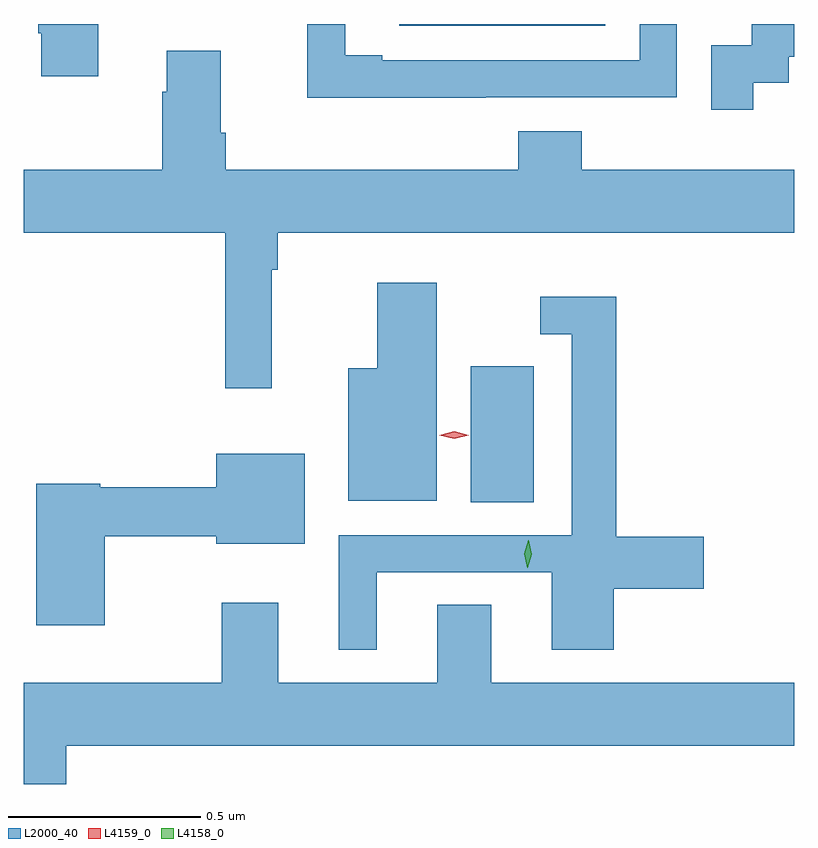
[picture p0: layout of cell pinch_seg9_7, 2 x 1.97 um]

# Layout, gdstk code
import gdstk
lib = gdstk.Library(unit=1e-6, precision=1e-09)
def R(c, l, rs):  # rectangles x0, y0, x1, y1
    for r in rs: c.add(gdstk.rectangle(r[:2], r[2:], *l))
def P(c, l, *ps):  # polygons
    for p in ps: c.add(gdstk.Polygon(p, *l))
L2000_40 = (2000, 40)
L4158_0 = (4158, 0)
L4159_0 = (4159, 0)

pinch_seg9_7 = lib.new_cell('pinch_seg9_7')
R(pinch_seg9_7, L2000_40, [(1047.578,1235.68,1047.742,1236.034), (1047.393,1236.918,1047.927,1236.922)])
P(pinch_seg9_7, L2000_40, [(1047.617,1236.732),(1048.113,1236.732),(1048.113,1236.922),(1048.017,1236.922),(1048.017,1236.828),(1047.349,1236.828),(1047.349,1236.841),(1047.252,1236.841),(1047.252,1236.922),(1047.154,1236.922),(1047.154,1236.731),(1047.617,1236.731)],
  [(1048.312,1236.769),(1048.404,1236.769),(1048.404,1236.837),(1048.418,1236.837),(1048.418,1236.922),(1048.308,1236.922),(1048.308,1236.867),(1048.203,1236.867),(1048.203,1236.699),(1048.312,1236.699)],
  [(1046.611,1236.922),(1046.455,1236.922),(1046.455,1236.898),(1046.463,1236.898),(1046.463,1236.786),(1046.611,1236.786)],
  [(1047.062,1236.284),(1047.077,1236.284),(1047.077,1236.38),(1048.418,1236.38),(1048.418,1236.544),(1047.866,1236.544),(1047.866,1236.643),(1047.701,1236.643),(1047.701,1236.544),(1046.942,1236.544),(1046.942,1236.64),(1046.929,1236.64),(1046.929,1236.853),(1046.789,1236.853),(1046.789,1236.746),(1046.777,1236.746),(1046.777,1236.544),(1046.418,1236.544),(1046.418,1236.38),(1046.941,1236.38),(1046.941,1235.976),(1047.062,1235.976)],
  [(1047.49,1236.25),(1047.335,1236.25),(1047.335,1236.028),(1047.26,1236.028),(1047.26,1235.684),(1047.49,1235.684)],
  [(1047.334,1235.499),(1047.788,1235.499),(1047.788,1235.298),(1047.95,1235.298),(1047.95,1235.456),(1048.183,1235.456),(1048.183,1235.591),(1047.956,1235.591),(1047.956,1236.214),(1047.759,1236.214),(1047.759,1236.117),(1047.84,1236.117),(1047.84,1235.595),(1047.236,1235.595),(1047.236,1235.298),(1047.334,1235.298)],
  [(1046.628,1235.592),(1046.918,1235.592),(1046.918,1235.573),(1047.148,1235.573),(1047.148,1235.806),(1046.918,1235.806),(1046.918,1235.72),(1046.616,1235.72),(1046.616,1235.728),(1046.45,1235.728),(1046.45,1235.361),(1046.628,1235.361)],
  [(1046.528,1235.048),(1048.418,1235.048),(1048.418,1235.212),(1047.631,1235.212),(1047.631,1235.414),(1047.491,1235.414),(1047.491,1235.212),(1047.079,1235.212),(1047.079,1235.419),(1046.932,1235.419),(1046.932,1235.212),(1046.418,1235.212),(1046.418,1234.949),(1046.528,1234.949)])
P(pinch_seg9_7, L4158_0, [(1047.725,1235.51),(1047.717,1235.547),(1047.728,1235.582),(1047.729,1235.582),(1047.729,1235.582),(1047.737,1235.546),(1047.726,1235.51),(1047.726,1235.51)])
P(pinch_seg9_7, L4159_0, [(1047.535,1235.845),(1047.497,1235.855),(1047.496,1235.855),(1047.497,1235.855),(1047.535,1235.865),(1047.573,1235.855),(1047.573,1235.855),(1047.573,1235.855)])

lib.write_gds('pinch_seg9_7.gds')
